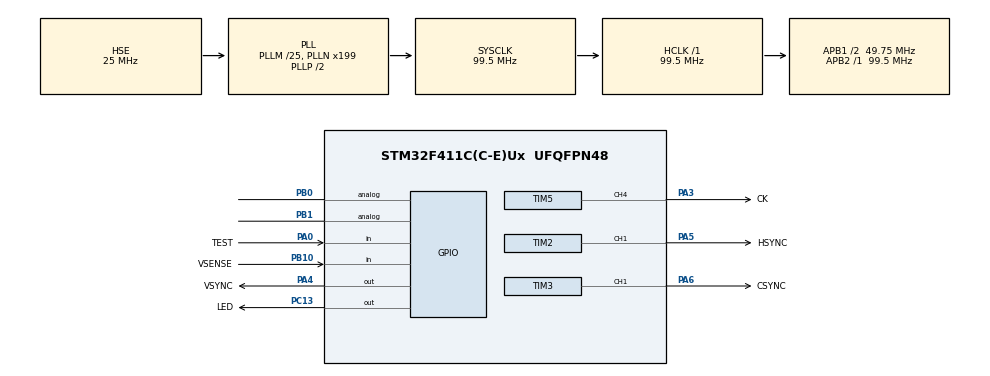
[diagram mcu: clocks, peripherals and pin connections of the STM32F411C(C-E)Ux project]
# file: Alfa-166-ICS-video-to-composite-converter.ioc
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Dma.Request0=TIM4_UP
Dma.Request1=TIM1_UP
Dma.Request2=TIM3_CH4/UP
Dma.Request3=TIM1_CH1/CH2/CH3
Dma.TIM1_CH1/CH2/CH3.3.Direction=DMA_MEMORY_TO_PERIPH
Dma.TIM1_CH1/CH2/CH3.3.FIFOMode=DMA_FIFOMODE_DISABLE
Dma.TIM1_CH1/CH2/CH3.3.Instance=DMA2_Stream6
Dma.TIM1_CH1/CH2/CH3.3.MemDataAlignment=DMA_MDATAALIGN_HALFWORD
Dma.TIM1_CH1/CH2/CH3.3.MemInc=DMA_MINC_ENABLE
Dma.TIM1_CH1/CH2/CH3.3.Mode=DMA_CIRCULAR
Dma.TIM1_CH1/CH2/CH3.3.PeriphDataAlignment=DMA_PDATAALIGN_HALFWORD
Dma.TIM1_CH1/CH2/CH3.3.PeriphInc=DMA_PINC_DISABLE
Dma.TIM1_CH1/CH2/CH3.3.Priority=DMA_PRIORITY_VERY_HIGH
Dma.TIM1_UP.1.Direction=DMA_MEMORY_TO_PERIPH
Dma.TIM1_UP.1.FIFOMode=DMA_FIFOMODE_DISABLE
Dma.TIM1_UP.1.Instance=DMA2_Stream5
Dma.TIM1_UP.1.MemDataAlignment=DMA_MDATAALIGN_WORD
Dma.TIM1_UP.1.MemInc=DMA_MINC_ENABLE
Dma.TIM1_UP.1.Mode=DMA_CIRCULAR
Dma.TIM1_UP.1.PeriphDataAlignment=DMA_PDATAALIGN_WORD
Dma.TIM1_UP.1.PeriphInc=DMA_PINC_DISABLE
Dma.TIM1_UP.1.Priority=DMA_PRIORITY_VERY_HIGH
Dma.TIM3_CH4/UP.2.Direction=DMA_MEMORY_TO_PERIPH
Dma.TIM3_CH4/UP.2.FIFOMode=DMA_FIFOMODE_DISABLE
Dma.TIM3_CH4/UP.2.Instance=DMA1_Stream2
Dma.TIM3_CH4/UP.2.MemDataAlignment=DMA_MDATAALIGN_HALFWORD
Dma.TIM3_CH4/UP.2.MemInc=DMA_MINC_ENABLE
Dma.TIM3_CH4/UP.2.Mode=DMA_CIRCULAR
Dma.TIM3_CH4/UP.2.PeriphDataAlignment=DMA_PDATAALIGN_HALFWORD
Dma.TIM3_CH4/UP.2.PeriphInc=DMA_PINC_DISABLE
Dma.TIM3_CH4/UP.2.Priority=DMA_PRIORITY_VERY_HIGH
Dma.TIM4_UP.0.Direction=DMA_MEMORY_TO_PERIPH
Dma.TIM4_UP.0.FIFOMode=DMA_FIFOMODE_DISABLE
Dma.TIM4_UP.0.Instance=DMA1_Stream6
Dma.TIM4_UP.0.MemDataAlignment=DMA_MDATAALIGN_HALFWORD
Dma.TIM4_UP.0.MemInc=DMA_MINC_ENABLE
Dma.TIM4_UP.0.Mode=DMA_CIRCULAR
Dma.TIM4_UP.0.PeriphDataAlignment=DMA_PDATAALIGN_HALFWORD
Dma.TIM4_UP.0.PeriphInc=DMA_PINC_DISABLE
Dma.TIM4_UP.0.Priority=DMA_PRIORITY_VERY_HIGH
Mcu.Family=STM32F4
Mcu.Name=STM32F411C(C-E)Ux
Mcu.Package=UFQFPN48
NVIC.PriorityGroup=NVIC_PRIORITYGROUP_4
PA0-WKUP.GPIO_Label=TEST
PA0-WKUP.GPIO_PuPd=GPIO_PULLUP
PA0-WKUP.Signal=GPIO_Input
PA13.Mode=Serial_Wire
PA13.Signal=SYS_JTMS-SWDIO
PA14.Mode=Serial_Wire
PA14.Signal=SYS_JTCK-SWCLK
PA3.GPIO_Label=CK
PA3.GPIO_ModeDefaultPP=GPIO_MODE_AF_PP
PA3.GPIO_PuPd=GPIO_NOPULL
PA3.GPIO_Speed=GPIO_SPEED_FREQ_VERY_HIGH
PA3.Signal=S_TIM5_CH4
PA4.GPIO_Label=VSYNC
PA4.GPIO_ModeDefaultOutputPP=GPIO_MODE_OUTPUT_OD
PA4.GPIO_PuPd=GPIO_NOPULL
PA4.Signal=GPIO_Output
PA5.GPIO_Label=HSYNC
PA5.GPIO_ModeDefaultPP=GPIO_MODE_AF_OD
PA5.Signal=S_TIM2_CH1_ETR
PA6.GPIO_Label=CSYNC
PA6.GPIO_ModeDefaultPP=GPIO_MODE_AF_PP
PA6.Signal=S_TIM3_CH1
PB0.Signal=GPIO_Analog
PB1.Signal=GPIO_Analog
PB10.GPIO_Label=VSENSE
PB10.GPIO_PuPd=GPIO_PULLDOWN
PB10.Signal=GPIO_Input
PC13-ANTI_TAMP.GPIO_Label=LED
PC13-ANTI_TAMP.Signal=GPIO_Output
PH0\ -\ OSC_IN.Mode=HSE-External-Oscillator
PH0\ -\ OSC_IN.Signal=RCC_OSC_IN
PH1\ -\ OSC_OUT.Mode=HSE-External-Oscillator
PH1\ -\ OSC_OUT.Signal=RCC_OSC_OUT
ProjectManager.HeapSize=0x200
ProjectManager.StackSize=0x400
ProjectManager.TargetToolchain=STM32CubeIDE
RCC.48MHZClocksFreq_Value=49750000
RCC.AHBFreq_Value=99500000
RCC.APB1CLKDivider=RCC_HCLK_DIV2
RCC.APB1Freq_Value=49750000
RCC.APB1TimFreq_Value=99500000
RCC.APB2Freq_Value=99500000
RCC.APB2TimFreq_Value=99500000
RCC.CortexFreq_Value=99500000
RCC.HCLKFreq_Value=99500000
RCC.HSE_VALUE=25000000
RCC.HSI_VALUE=16000000
RCC.LSE_VALUE=32768
RCC.PLLM=25
RCC.PLLN=199
RCC.PLLSourceVirtual=RCC_PLLSOURCE_HSE
RCC.SYSCLKFreq_VALUE=99500000
RCC.SYSCLKSource=RCC_SYSCLKSOURCE_PLLCLK
RCC.VCOOutputFreq_Value=199000000
SH.S_TIM2_CH1_ETR.0=TIM2_CH1,PWM Generation1 CH1
SH.S_TIM3_CH1.0=TIM3_CH1,PWM Generation1 CH1
SH.S_TIM5_CH4.0=TIM5_CH4,PWM Generation4 CH4
TIM1.AutoReloadPreload=TIM_AUTORELOAD_PRELOAD_DISABLE
TIM1.Channel-PWM\ Generation1\ No\ Output=TIM_CHANNEL_1
TIM1.OCFastMode_PWM-PWM\ Generation1\ No\ Output=TIM_OCFAST_ENABLE
TIM1.Period=3161
TIM1.Prescaler=0
TIM1.Pulse-PWM\ Generation1\ No\ Output=5
TIM1.TIM_MasterOutputTrigger=TIM_TRGO_UPDATE
TIM1.TIM_MasterSlaveMode=TIM_MASTERSLAVEMODE_DISABLE
TIM2.Channel-PWM\ Generation1\ CH1=TIM_CHANNEL_1
TIM2.OC1Preload_PWM=DISABLE
TIM2.OCFastMode_PWM-PWM\ Generation1\ CH1=TIM_OCFAST_DISABLE
TIM2.OCMode_PWM-PWM\ Generation1\ CH1=TIM_OCMODE_PWM2
TIM2.Period=6323
TIM2.Pulse-PWM\ Generation1\ CH1=497
TIM2.TIM_MasterOutputTrigger=TIM_TRGO_UPDATE
TIM2.TIM_MasterSlaveMode=TIM_MASTERSLAVEMODE_DISABLE
TIM3.AutoReloadPreload=TIM_AUTORELOAD_PRELOAD_DISABLE
TIM3.Channel-PWM\ Generation1\ CH1=TIM_CHANNEL_1
TIM3.OC1Preload_PWM=DISABLE
TIM3.OCFastMode_PWM-PWM\ Generation1\ CH1=TIM_OCFAST_ENABLE
TIM3.OCMode_PWM-PWM\ Generation1\ CH1=TIM_OCMODE_PWM2
TIM3.Period=6323
TIM3.Prescaler=0
TIM3.Pulse-PWM\ Generation1\ CH1=458
TIM3.TIM_MasterOutputTrigger=TIM_TRGO_UPDATE
TIM3.TIM_MasterSlaveMode=TIM_MASTERSLAVEMODE_DISABLE
TIM4.AutoReloadPreload=TIM_AUTORELOAD_PRELOAD_DISABLE
TIM4.Period=3
TIM4.TIM_MasterOutputTrigger=TIM_TRGO_UPDATE
TIM4.TIM_MasterSlaveMode=TIM_MASTERSLAVEMODE_DISABLE
TIM5.Channel-PWM\ Generation4\ CH4=TIM_CHANNEL_4
TIM5.OCFastMode_PWM-PWM\ Generation4\ CH4=TIM_OCFAST_ENABLE
TIM5.OCMode_PWM-PWM\ Generation4\ CH4=TIM_OCMODE_PWM2
TIM5.Period=29
TIM5.Prescaler=0
TIM5.Pulse-PWM\ Generation4\ CH4=15
TIM5.TIM_MasterOutputTrigger=TIM_TRGO_UPDATE
TIM5.TIM_MasterSlaveMode=TIM_MASTERSLAVEMODE_DISABLE
VP_TIM1_VS_ClockSourceINT.Mode=Internal
VP_TIM1_VS_ClockSourceITR.Mode=TriggerSource_ITR3
VP_TIM1_VS_ControllerModeTrigger.Mode=Trigger Mode
VP_TIM1_VS_OPM.Mode=OPM_bit
VP_TIM1_VS_no_output1.Mode=PWM Generation1 No Output
VP_TIM2_VS_ClockSourceINT.Mode=Internal
VP_TIM3_VS_ClockSourceINT.Mode=Internal
VP_TIM3_VS_ClockSourceITR.Mode=TriggerSource_ITR1
VP_TIM3_VS_ControllerModeReset.Mode=Reset Mode
VP_TIM4_VS_ClockSourceITR.Mode=TriggerSource_ITR1
VP_TIM4_VS_ControllerModeClock.Mode=Clock Mode
VP_TIM5_VS_ClockSourceINT.Mode=Internal
VP_TIM5_VS_ClockSourceITR.Mode=TriggerSource_ITR0
VP_TIM5_VS_ControllerModeReset.Mode=Reset Mode
board=custom

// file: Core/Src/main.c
/* USER CODE BEGIN Header */
/**
  ******************************************************************************
  * @file           : main.c
  * @brief          : Main program body
  ******************************************************************************
  * @attention
  *
  * Copyright (c) 2025 STMicroelectronics.
  * All rights reserved.
  *
  * This software is licensed under terms that can be found in the LICENSE file
  * in the root directory of this software component.
  * If no LICENSE file comes with this software, it is provided AS-IS.
  *
  ******************************************************************************
  */
/* USER CODE END Header */
#include "main.h"

/* USER CODE BEGIN Includes */
#include "gpio.h"
/* USER CODE END Includes */

/* USER CODE BEGIN PD */

// Macro to combine all TIM flags
#define TIM_IT_ALL  (TIM_IT_UPDATE | TIM_IT_CC1 | TIM_IT_CC1 | TIM_IT_CC1 | TIM_IT_CC1 | TIM_IT_COM | TIM_IT_TRIGGER | TIM_IT_BREAK)

// Enable to start in even field,odd field otherwise
#define START_IN_EVEN_FIELD

#define _INT(n) ( (int) n )
// System timings
#define MAIN_CLK          (99500UL)                               // Timer clock: 99.5MHz
#define PWM_T(n)          ((((n)*MAIN_CLK)+500000UL)/1000000UL)           // Period value in ns
#define TIM_T(n)          (PWM_T(n)-1)                            // Duty value in ns

//NTSC standard definition
#define FPS               (2997)                                  // 29.97fps
#define FRAME             (480)                                   // 480, 720, 1080... for 525, 765, 1125 lines

// NTSC timings (Computed based on the defined frame/fps and system speed)
#define LINES             (FRAME+45)                              // 525, 765, 1125
#define FIELD             (LINES/2)
#define LINE_T            ((100000000000UL+(FPS*LINES/2))/(FPS*LINES))    // Line: 63.55us = 15734.25Hz
#define HLINE_T           (LINE_T+1/2)
#define TIM_LINE          (TIM_T(LINE_T))
#define TIM_HLINE         (((TIM_LINE+1)/2)-1)                            // Half line: 31.8us
#define HSY               (PWM_T(4700UL))                                 // HSYNC width: 4.7us
#define EQ_LOW            (PWM_T(HLINE_T-4700))                           // EQU low:  HLINE-4.7 = 27.1us    PERIOD = TIM_HLINE
#define PEQ_LOW           (PWM_T(2400UL))                                 // PRE-POST low: 2.4us              PERIOD = TIM_HLINE

#define VSYNC_LINES       (3)                                             // Vsync low pulse width
#define VSYNC_DELAY_LINES (3)                                             // Delay from Pre-Equ start
#define VSYNC_DELAY_HSYNC_ODD (TIM_T(300UL))                              // Delay from hsync fall to vsync toggle odd field (300ns)
#define VSYNC_DELAY_HSYNC_EVEN (TIM_HLINE)                                // Delay from hsync fall to vsync toggle even field (300ns + half line)
/*
#define XSTR(x) STR(x)
#define STR(x) #x
#pragma message "LINES: " XSTR(LINES)
#pragma message "FIELD: " XSTR(FIELD)
#pragma message "LINE_T: " XSTR(LINE_T)
#pragma message "TIM_LINE: " XSTR(TIM_LINE)
#pragma message "TIM_HLINE: " XSTR(TIM_HLINE)
#pragma message "EQ_LOW: " XSTR(EQ_LOW)
#pragma message "PEQ_LOW: " XSTR(PEQ_LOW)
#pragma message "VSYNC_LINES: " XSTR(VSYNC_LINES)
#pragma message "VSYNC_DELAY_LINES: " XSTR(VSYNC_DELAY_LINES)
#pragma message "VSYNC_DELAY_HSYNC: " XSTR(VSYNC_DELAY_HSYNC)
#pragma message "2xHL: " XSTR((TIM_HLINE+1)*2)
*/

/*
   NTSC 525i frame composite sync

   Hfreq      15734.25Hz, T=63.556us

                  Pulses  Width                       Pulse     Start line    Lines   Note
   pre-equ        6       31.78us, 2.5us  low,        0-5       1             3
   equ            6       31.78us, 27.1us low,        6-11      4             3
   post-equ       6       31.78us, 2.5us  low,        12-17     7             3
   10-262         253     63.56us, 4.7us  low         18-270    10            253
   262.5          1       31.78us, 4.7us  low         271       262           0.5     (odd field end, 1/2 line)
   pre-equ        6       31.78us, 2.5us  low,        272-277   262.5         3
   equ            6       31.78us, 27.1us low,        278-283   265.5         3
   post-equ       5       31.78us, 2.5us  low,        284-288   268.5         2.5
   post-equ-end   1       63.56us, 2.5us  low,        289       271           1       (even field start, 1/2 line)
   264-525        253     63.56us, 4.7us  low         290-525   272           253
   end (Roll over)                                              525
*/

/* USER CODE END PD */

TIM_HandleTypeDef htim1;
TIM_HandleTypeDef htim2;
TIM_HandleTypeDef htim3;
TIM_HandleTypeDef htim4;
TIM_HandleTypeDef htim5;
DMA_HandleTypeDef hdma_tim1_up;
DMA_HandleTypeDef hdma_tim1_ch1_ch2_ch3;
DMA_HandleTypeDef hdma_tim3_ch4_up;
DMA_HandleTypeDef hdma_tim4_up;

void SystemClock_Config(void);
static void MX_GPIO_Init(void);
static void MX_DMA_Init(void);
static void MX_TIM3_Init(void);
static void MX_TIM4_Init(void);
static void MX_TIM1_Init(void);
static void MX_TIM5_Init(void);
static void MX_TIM2_Init(void);
/* USER CODE BEGIN PFP */

const uint32_t vsync_toggle[] = { VSYNC_Pin, ((uint32_t)VSYNC_Pin<<16) };           // Vsync GPIO BSRR values: low, high.

#ifdef START_IN_EVEN_FIELD

const uint16_t csync[][3] = { // DMA burst write for TIM3

                                                              // EVEN FIELD START
  [0 ... 5]               = { TIM_HLINE,  0,    PEQ_LOW },    // 6x pre-equalizing pulses     T=31.78us   low: 2.44us (3 lines)
  [6 ... 11]              = { TIM_HLINE,  0,    EQ_LOW  },    // 6x equalizing pulses         T=31.78us   low: 27.1us (3 lines)
  [12 ... 16]             = { TIM_HLINE,  0,    PEQ_LOW },    // 5x post-equalizing pulses    T=31.78us   low: 2.44us (2.5 lines)
  [17]                    = { TIM_LINE,   0,    PEQ_LOW },    // 1x post-equ + 0.5 line       T=63.56us   low: 2.44us (0.5 lines)
  [18 ... FIELD+7]        = { TIM_LINE,   0,    HSY     },    // even field                   T=63.56us   low: 4.7us  (253 lines for 525i)

                                                              // ODD FIELD START
  [FIELD+8 ... FIELD+13]  = { TIM_HLINE,  0,    PEQ_LOW },    // 6x pre-equalizing pulses     T=31.78us   low: 2.44us (3 lines)
  [FIELD+14 ... FIELD+19] = { TIM_HLINE,  0,    EQ_LOW  },    // 6x equalizing pulses         T=31.78us   low: 27.1us (3 lines)
  [FIELD+20 ... FIELD+25] = { TIM_HLINE,  0,    PEQ_LOW },    // 6x post-equalizing pulses    T=31.78us   low: 2.44us (3 lines)
  [FIELD+26 ... LINES+16] = { TIM_LINE,   0,    HSY     },    // even field                   T=63.56us   low: 4.7us  (253 lines for 525i)
  [LINES+17]              = { TIM_HLINE,  0,    HSY     },    // 0.5 line                     T=31.78us   low: 4.7us  (0.5 lines)

};
const uint16_t hsync_vsync_div[] = { FIELD-VSYNC_LINES-1, VSYNC_LINES-1, FIELD-VSYNC_LINES, VSYNC_LINES-1 };   // Hsync divider for vsync generation.
const uint16_t hsync_vsync_delay[]   = { VSYNC_DELAY_HSYNC_EVEN, VSYNC_DELAY_HSYNC_ODD, VSYNC_DELAY_HSYNC_ODD, VSYNC_DELAY_HSYNC_EVEN };

#else

const uint16_t csync[][3] = { // DMA burst write for TIM3     // ODD FIELD START
  [0 ... 5]               = { TIM_HLINE,  0,    PEQ_LOW },    // 6x pre-equalizing pulses     T=31.78us   low: 2.44us (3 lines)
  [6 ... 11]              = { TIM_HLINE,  0,    EQ_LOW  },    // 6x equalizing pulses         T=31.78us   low: 27.1us (3 lines)
  [12 ... 17]             = { TIM_HLINE,  0,    PEQ_LOW },    // 6x post-equalizing pulses    T=31.78us   low: 2.44us (3 lines)
  [18 ... FIELD+9]        = { TIM_LINE,   0,    HSY     },    // odd field                    T=63.56us   low: 4.7us  (253 lines for 525i)
  [FIELD+10]              = { TIM_HLINE,  0,    HSY     },    // 0.5 line                     T=31.78us   low: 4.7us  (0.5 lines)
                                                              // EVEN FIELD START
  [FIELD+11 ... FIELD+16] = { TIM_HLINE,  0,    PEQ_LOW },    // 6x pre-equalizing pulses     T=31.78us   low: 2.44us (3 lines)
  [FIELD+17 ... FIELD+22] = { TIM_HLINE,  0,    EQ_LOW  },    // 6x equalizing pulses         T=31.78us   low: 27.1us (3 lines)
  [FIELD+23 ... FIELD+27] = { TIM_HLINE,  0,    PEQ_LOW },    // 5x post-equalizing pulses    T=31.78us   low: 2.44us (2.5 lines)
  [FIELD+28]              = { TIM_LINE,   0,    PEQ_LOW },    // 1x post-equ + 0.5 line       T=63.56us   low: 2.44us (0.5 lines)
  [FIELD+29 ... LINES+17] = { TIM_LINE,   0,    HSY     },    // even field                   T=63.56us   low: 4.7us  (253 lines for 525i)
};
const uint16_t hsync_vsync_div[]   = { FIELD-VSYNC_LINES, VSYNC_LINES-1, FIELD-VSYNC_LINES-1, VSYNC_LINES-1 };   // Hsync divider for vsync generation.
const uint16_t hsync_vsync_delay[]   = { VSYNC_DELAY_HSYNC_ODD, VSYNC_DELAY_HSYNC_EVEN, VSYNC_DELAY_HSYNC_EVEN, VSYNC_DELAY_HSYNC_ODD };
#endif

/* USER CODE END PFP */

/* USER CODE BEGIN 0 */
uint8_t test_mode;
/* USER CODE END 0 */

int main(void)
{

  /* MCU Configuration--------------------------------------------------------*/

  /* Reset of all peripherals, Initializes the Flash interface and the Systick. */
  HAL_Init();

  /* Configure the system clock */
  SystemClock_Config();

  /* Initialize all configured peripherals */
  MX_GPIO_Init();
  MX_DMA_Init();
  MX_TIM3_Init();
  MX_TIM4_Init();
  MX_TIM1_Init();
  MX_TIM5_Init();
  MX_TIM2_Init();
  /* USER CODE BEGIN 2 */

#ifdef DEBUG
  __HAL_DBGMCU_FREEZE_TIM1();
  __HAL_DBGMCU_FREEZE_TIM2();
  __HAL_DBGMCU_FREEZE_TIM3();
  __HAL_DBGMCU_FREEZE_TIM4();
  __HAL_DBGMCU_FREEZE_TIM5();
#endif

  __HAL_TIM_CLEAR_IT(&htim1, TIM_IT_ALL);
  __HAL_TIM_CLEAR_IT(&htim3, TIM_IT_ALL);
  __HAL_TIM_CLEAR_IT(&htim4, TIM_IT_ALL);
  __HAL_TIM_CLEAR_IT(&htim5, TIM_IT_ALL);

  // The ICS logic won't work properly with 3.3V signals.
  // XXX: HSYNC / VSYNC PINS CONFIGURED IN OPEN DRAIN MODE, USE EXTERNAL 4k7-10K PULLUPS TO 5V !!!!
  HAL_setPinHigh(HSYNC);                                                                                                                // This is the behavior on the ICS at boot
  HAL_setPinLow(VSYNC);
  HAL_setPinMode(HSYNC, MODE_OUTPUT);                                                                                                   // Set HSYNC pin to GPIO output
  HAL_setPinHigh(LED);                                                                                                                  // LED off

  /*        TIM1
      Makes HSYNC to VSYNC delay
      Uses system clock.
      Slave trigger mode from TIM4 (Hsync to VSYNC divider).
      Uses TIM_UP DMA to write to the VSYNC GPIO.
      The next delay is self-updated by TIM1_CC1, which writes the next overflow value to TIM1-ARR
   */
  __HAL_TIM_ENABLE_DMA(&htim1, TIM_DMA_UPDATE);
  __HAL_TIM_ENABLE_DMA(&htim1, TIM_DMA_CC1);
  HAL_DMA_Start(&hdma_tim1_up,  (uint32_t)vsync_toggle, (uint32_t)&VSYNC_GPIO_Port->BSRR, sizeof(vsync_toggle)/sizeof(vsync_toggle[0]));                                           // use UPDATE DMA to write to GPIO
  HAL_DMA_Start(&hdma_tim1_ch1_ch2_ch3, (uint32_t)hsync_vsync_delay, (uint32_t)&TIM1->ARR, sizeof(hsync_vsync_delay)/sizeof(hsync_vsync_delay[0]));                                           // use UPDATE DMA to write to GPIO
  HAL_TIM_PWM_Start(&htim1, TIM_CHANNEL_1);                                                                                             // Start TIM1 PWM

  // TIM3  -  CSYNC - Slave reset mode from TIM2 to ensure sync at all times.
  TIM3->ARR = TIM_HLINE;                                                                                                                // Start in pre-equalizing phase
  TIM3->CCR1 = PEQ_LOW;
  __HAL_TIM_ENABLE_DMA(&htim3, TIM_DMA_UPDATE);
  HAL_DMA_Start(&hdma_tim3_ch4_up, (uint32_t)csync, (uint32_t)&TIM3->DMAR, sizeof(csync)/sizeof(csync[0][0]));                          // Start TIM3 Update DMA: Updates TIM4 ARR value on each update for VSYNC delay
  TIM3->DCR = TIM_DMABASE_ARR | TIM_DMABURSTLENGTH_3TRANSFERS;                                                                          // Enable burst transfers

  /*        TIM4
      Takes HSYNC clock from TIM2, divides by field lines, updates next overflow value (Odd / Even fields).
      TRGO for TIM1, which makes a delay, then triggers a DMA write to VSYNC GPIO
  */
  __HAL_TIM_ENABLE_DMA(&htim4, TIM_DMA_UPDATE);
  HAL_DMA_Start(&hdma_tim4_up, (uint32_t)hsync_vsync_div, (uint32_t)&TIM4->ARR, sizeof(hsync_vsync_div)/sizeof(hsync_vsync_div[0]));    // Enable TIM4 Update DMA: Updates TIM4 ARR value on each update
  TIM4->ARR = VSYNC_LINES+VSYNC_DELAY_LINES-1;                   // We start with vsync=low, so preload vsync width.
  HAL_TIM_Base_Start(&htim4);

  while(HAL_GetTick()==0);                                                                                                              // Make sure at least 1ms have passed, otherwise the following loop won't work
  uint32_t start=0;
  while(1){
    if(start==0){
      if(HAL_readPin(VSENSE) || !HAL_readPin(TEST))                                                                                     // Wait for target power or test mode
        start = HAL_GetTick();
    }
    else{
      if(!HAL_readPin(VSENSE) && HAL_readPin(TEST))                                                                                     // Target power removed or test button not pressed for long enough
        start = 0;                                                                                                                      // Restart loop
      else if(HAL_GetTick()-start > 50 ){                                                                                               // Target power or test button held for >50ms, start
        test_mode =  !HAL_readPin(TEST);                                                                                                // store test flag
        break;
      }
    }
  }
  HAL_setPinLow(LED);                                                                                                                   // LED on
  HAL_setPinMode(HSYNC, MODE_AF);                                                                                                       // Restore HSYNC pin to PWM output

  // TIM2  -  HSYNC for head unit - Master timer for TIM3, TIM4 & TIM5
  TIM2->ARR = TIM_LINE;
  TIM2->CCR1 = HSY;
  HAL_TIM_PWM_Start(&htim2, TIM_CHANNEL_1);                                                                                             // Start TIM2 PWM
  __HAL_TIM_MOE_ENABLE(&htim2);                                                                                                         // Enable TIM2 PWM output (HSYNC signal), Master timer

  HAL_TIM_PWM_Start(&htim3, TIM_CHANNEL_1);                                                                                             // Start TIM3 PWM
  __HAL_TIM_MOE_ENABLE(&htim3);                                                                                                         // Enable TIM3 PWM output (CSYNC signal)

  HAL_TIM_PWM_Start(&htim5, TIM_CHANNEL_4);                                                                                             // Start TIM5 PWM
  __HAL_TIM_MOE_ENABLE(&htim5);                                                                                                         // Enable TIM5 PWM output (Pixel clock)
  /* USER CODE END 2 */

  /* Infinite loop */
  /* USER CODE BEGIN WHILE */
  while (1)
  {
    if( !HAL_readPin(VSENSE) && !test_mode ){                                                                                           // Target power removed, not in test mode
      NVIC_SystemReset();                                                                                                               // Reboot system
    }
    /* USER CODE END WHILE */

  }
}

void SystemClock_Config(void)
{
  RCC_OscInitTypeDef RCC_OscInitStruct = {0};
  RCC_ClkInitTypeDef RCC_ClkInitStruct = {0};

  /** Configure the main internal regulator output voltage
  */
  __HAL_RCC_PWR_CLK_ENABLE();
  __HAL_PWR_VOLTAGESCALING_CONFIG(PWR_REGULATOR_VOLTAGE_SCALE1);

  /** Initializes the RCC Oscillators according to the specified parameters
  * in the RCC_OscInitTypeDef structure.
  */
  RCC_OscInitStruct.OscillatorType = RCC_OSCILLATORTYPE_HSE;
  RCC_OscInitStruct.HSEState = RCC_HSE_ON;
  RCC_OscInitStruct.PLL.PLLState = RCC_PLL_ON;
  RCC_OscInitStruct.PLL.PLLSource = RCC_PLLSOURCE_HSE;
  RCC_OscInitStruct.PLL.PLLM = 25;
  RCC_OscInitStruct.PLL.PLLN = 199;
  RCC_OscInitStruct.PLL.PLLP = RCC_PLLP_DIV2;
  RCC_OscInitStruct.PLL.PLLQ = 4;
  if (HAL_RCC_OscConfig(&RCC_OscInitStruct) != HAL_OK)
  {
    Error_Handler();
  }

  /** Initializes the CPU, AHB and APB buses clocks
  */
  RCC_ClkInitStruct.ClockType = RCC_CLOCKTYPE_HCLK|RCC_CLOCKTYPE_SYSCLK
                              |RCC_CLOCKTYPE_PCLK1|RCC_CLOCKTYPE_PCLK2;
  RCC_ClkInitStruct.SYSCLKSource = RCC_SYSCLKSOURCE_PLLCLK;
  RCC_ClkInitStruct.AHBCLKDivider = RCC_SYSCLK_DIV1;
  RCC_ClkInitStruct.APB1CLKDivider = RCC_HCLK_DIV2;
  RCC_ClkInitStruct.APB2CLKDivider = RCC_HCLK_DIV1;

  if (HAL_RCC_ClockConfig(&RCC_ClkInitStruct, FLASH_LATENCY_3) != HAL_OK)
  {
    Error_Handler();
  }
}

static void MX_TIM1_Init(void)
{

  TIM_ClockConfigTypeDef sClockSourceConfig = {0};
  TIM_SlaveConfigTypeDef sSlaveConfig = {0};
  TIM_MasterConfigTypeDef sMasterConfig = {0};
  TIM_OC_InitTypeDef sConfigOC = {0};
  TIM_BreakDeadTimeConfigTypeDef sBreakDeadTimeConfig = {0};

  htim1.Instance = TIM1;
  htim1.Init.Prescaler = 0;
  htim1.Init.CounterMode = TIM_COUNTERMODE_UP;
  htim1.Init.Period = 3161;
  htim1.Init.ClockDivision = TIM_CLOCKDIVISION_DIV1;
  htim1.Init.RepetitionCounter = 0;
  htim1.Init.AutoReloadPreload = TIM_AUTORELOAD_PRELOAD_DISABLE;
  if (HAL_TIM_Base_Init(&htim1) != HAL_OK)
  {
    Error_Handler();
  }
  sClockSourceConfig.ClockSource = TIM_CLOCKSOURCE_INTERNAL;
  if (HAL_TIM_ConfigClockSource(&htim1, &sClockSourceConfig) != HAL_OK)
  {
    Error_Handler();
  }
  if (HAL_TIM_PWM_Init(&htim1) != HAL_OK)
  {
    Error_Handler();
  }
  if (HAL_TIM_OnePulse_Init(&htim1, TIM_OPMODE_SINGLE) != HAL_OK)
  {
    Error_Handler();
  }
  sSlaveConfig.SlaveMode = TIM_SLAVEMODE_TRIGGER;
  sSlaveConfig.InputTrigger = TIM_TS_ITR3;
  if (HAL_TIM_SlaveConfigSynchro(&htim1, &sSlaveConfig) != HAL_OK)
  {
    Error_Handler();
  }
  sMasterConfig.MasterOutputTrigger = TIM_TRGO_UPDATE;
  sMasterConfig.MasterSlaveMode = TIM_MASTERSLAVEMODE_DISABLE;
  if (HAL_TIMEx_MasterConfigSynchronization(&htim1, &sMasterConfig) != HAL_OK)
  {
    Error_Handler();
  }
  sConfigOC.OCMode = TIM_OCMODE_PWM1;
  sConfigOC.Pulse = 5;
  sConfigOC.OCPolarity = TIM_OCPOLARITY_HIGH;
  sConfigOC.OCNPolarity = TIM_OCNPOLARITY_HIGH;
  sConfigOC.OCFastMode = TIM_OCFAST_ENABLE;
  sConfigOC.OCIdleState = TIM_OCIDLESTATE_RESET;
  sConfigOC.OCNIdleState = TIM_OCNIDLESTATE_RESET;
  if (HAL_TIM_PWM_ConfigChannel(&htim1, &sConfigOC, TIM_CHANNEL_1) != HAL_OK)
  {
    Error_Handler();
  }
  sBreakDeadTimeConfig.OffStateRunMode = TIM_OSSR_DISABLE;
  sBreakDeadTimeConfig.OffStateIDLEMode = TIM_OSSI_DISABLE;
  sBreakDeadTimeConfig.LockLevel = TIM_LOCKLEVEL_OFF;
  sBreakDeadTimeConfig.DeadTime = 0;
  sBreakDeadTimeConfig.BreakState = TIM_BREAK_DISABLE;
  sBreakDeadTimeConfig.BreakPolarity = TIM_BREAKPOLARITY_HIGH;
  sBreakDeadTimeConfig.AutomaticOutput = TIM_AUTOMATICOUTPUT_DISABLE;
  if (HAL_TIMEx_ConfigBreakDeadTime(&htim1, &sBreakDeadTimeConfig) != HAL_OK)
  {
    Error_Handler();
  }

}

static void MX_TIM2_Init(void)
{

  TIM_ClockConfigTypeDef sClockSourceConfig = {0};
  TIM_MasterConfigTypeDef sMasterConfig = {0};
  TIM_OC_InitTypeDef sConfigOC = {0};

  htim2.Instance = TIM2;
  htim2.Init.Prescaler = 0;
  htim2.Init.CounterMode = TIM_COUNTERMODE_UP;
  htim2.Init.Period = 6323;
  htim2.Init.ClockDivision = TIM_CLOCKDIVISION_DIV1;
  htim2.Init.AutoReloadPreload = TIM_AUTORELOAD_PRELOAD_DISABLE;
  if (HAL_TIM_Base_Init(&htim2) != HAL_OK)
  {
    Error_Handler();
  }
  sClockSourceConfig.ClockSource = TIM_CLOCKSOURCE_INTERNAL;
  if (HAL_TIM_ConfigClockSource(&htim2, &sClockSourceConfig) != HAL_OK)
  {
    Error_Handler();
  }
  if (HAL_TIM_PWM_Init(&htim2) != HAL_OK)
  {
    Error_Handler();
  }
  sMasterConfig.MasterOutputTrigger = TIM_TRGO_UPDATE;
  sMasterConfig.MasterSlaveMode = TIM_MASTERSLAVEMODE_DISABLE;
  if (HAL_TIMEx_MasterConfigSynchronization(&htim2, &sMasterConfig) != HAL_OK)
  {
    Error_Handler();
  }
  sConfigOC.OCMode = TIM_OCMODE_PWM2;
  sConfigOC.Pulse = 497;
  sConfigOC.OCPolarity = TIM_OCPOLARITY_HIGH;
  sConfigOC.OCFastMode = TIM_OCFAST_DISABLE;
  if (HAL_TIM_PWM_ConfigChannel(&htim2, &sConfigOC, TIM_CHANNEL_1) != HAL_OK)
  {
    Error_Handler();
  }
  __HAL_TIM_DISABLE_OCxPRELOAD(&htim2, TIM_CHANNEL_1);
  HAL_TIM_MspPostInit(&htim2);

}

static void MX_TIM3_Init(void)
{

  TIM_ClockConfigTypeDef sClockSourceConfig = {0};
  TIM_SlaveConfigTypeDef sSlaveConfig = {0};
  TIM_MasterConfigTypeDef sMasterConfig = {0};
  TIM_OC_InitTypeDef sConfigOC = {0};

  htim3.Instance = TIM3;
  htim3.Init.Prescaler = 0;
  htim3.Init.CounterMode = TIM_COUNTERMODE_UP;
  htim3.Init.Period = 6323;
  htim3.Init.ClockDivision = TIM_CLOCKDIVISION_DIV1;
  htim3.Init.AutoReloadPreload = TIM_AUTORELOAD_PRELOAD_DISABLE;
  if (HAL_TIM_Base_Init(&htim3) != HAL_OK)
  {
    Error_Handler();
  }
  sClockSourceConfig.ClockSource = TIM_CLOCKSOURCE_INTERNAL;
  if (HAL_TIM_ConfigClockSource(&htim3, &sClockSourceConfig) != HAL_OK)
  {
    Error_Handler();
  }
  if (HAL_TIM_PWM_Init(&htim3) != HAL_OK)
  {
    Error_Handler();
  }
  sSlaveConfig.SlaveMode = TIM_SLAVEMODE_RESET;
  sSlaveConfig.InputTrigger = TIM_TS_ITR1;
  if (HAL_TIM_SlaveConfigSynchro(&htim3, &sSlaveConfig) != HAL_OK)
  {
    Error_Handler();
  }
  sMasterConfig.MasterOutputTrigger = TIM_TRGO_UPDATE;
  sMasterConfig.MasterSlaveMode = TIM_MASTERSLAVEMODE_DISABLE;
  if (HAL_TIMEx_MasterConfigSynchronization(&htim3, &sMasterConfig) != HAL_OK)
  {
    Error_Handler();
  }
  sConfigOC.OCMode = TIM_OCMODE_PWM2;
  sConfigOC.Pulse = 458;
  sConfigOC.OCPolarity = TIM_OCPOLARITY_HIGH;
  sConfigOC.OCFastMode = TIM_OCFAST_ENABLE;
  if (HAL_TIM_PWM_ConfigChannel(&htim3, &sConfigOC, TIM_CHANNEL_1) != HAL_OK)
  {
    Error_Handler();
  }
  __HAL_TIM_DISABLE_OCxPRELOAD(&htim3, TIM_CHANNEL_1);
  HAL_TIM_MspPostInit(&htim3);

}

static void MX_TIM4_Init(void)
{

  TIM_SlaveConfigTypeDef sSlaveConfig = {0};
  TIM_MasterConfigTypeDef sMasterConfig = {0};

  htim4.Instance = TIM4;
  htim4.Init.Prescaler = 0;
  htim4.Init.CounterMode = TIM_COUNTERMODE_UP;
  htim4.Init.Period = 3;
  htim4.Init.ClockDivision = TIM_CLOCKDIVISION_DIV1;
  htim4.Init.AutoReloadPreload = TIM_AUTORELOAD_PRELOAD_DISABLE;
  if (HAL_TIM_Base_Init(&htim4) != HAL_OK)
  {
    Error_Handler();
  }
  sSlaveConfig.SlaveMode = TIM_SLAVEMODE_EXTERNAL1;
  sSlaveConfig.InputTrigger = TIM_TS_ITR1;
  if (HAL_TIM_SlaveConfigSynchro(&htim4, &sSlaveConfig) != HAL_OK)
  {
    Error_Handler();
  }
  sMasterConfig.MasterOutputTrigger = TIM_TRGO_UPDATE;
  sMasterConfig.MasterSlaveMode = TIM_MASTERSLAVEMODE_DISABLE;
  if (HAL_TIMEx_MasterConfigSynchronization(&htim4, &sMasterConfig) != HAL_OK)
  {
    Error_Handler();
  }

}

static void MX_TIM5_Init(void)
{

  TIM_ClockConfigTypeDef sClockSourceConfig = {0};
  TIM_SlaveConfigTypeDef sSlaveConfig = {0};
  TIM_MasterConfigTypeDef sMasterConfig = {0};
  TIM_OC_InitTypeDef sConfigOC = {0};

  htim5.Instance = TIM5;
  htim5.Init.Prescaler = 0;
  htim5.Init.CounterMode = TIM_COUNTERMODE_UP;
  htim5.Init.Period = 29;
  htim5.Init.ClockDivision = TIM_CLOCKDIVISION_DIV1;
  htim5.Init.AutoReloadPreload = TIM_AUTORELOAD_PRELOAD_DISABLE;
  if (HAL_TIM_Base_Init(&htim5) != HAL_OK)
  {
    Error_Handler();
  }
  sClockSourceConfig.ClockSource = TIM_CLOCKSOURCE_INTERNAL;
  if (HAL_TIM_ConfigClockSource(&htim5, &sClockSourceConfig) != HAL_OK)
  {
    Error_Handler();
  }
  if (HAL_TIM_PWM_Init(&htim5) != HAL_OK)
  {
    Error_Handler();
  }
  sSlaveConfig.SlaveMode = TIM_SLAVEMODE_RESET;
  sSlaveConfig.InputTrigger = TIM_TS_ITR0;
  if (HAL_TIM_SlaveConfigSynchro(&htim5, &sSlaveConfig) != HAL_OK)
  {
    Error_Handler();
  }
  sMasterConfig.MasterOutputTrigger = TIM_TRGO_UPDATE;
  sMasterConfig.MasterSlaveMode = TIM_MASTERSLAVEMODE_DISABLE;
  if (HAL_TIMEx_MasterConfigSynchronization(&htim5, &sMasterConfig) != HAL_OK)
  {
    Error_Handler();
  }
  sConfigOC.OCMode = TIM_OCMODE_PWM2;
  sConfigOC.Pulse = 15;
  sConfigOC.OCPolarity = TIM_OCPOLARITY_HIGH;
  sConfigOC.OCFastMode = TIM_OCFAST_ENABLE;
  if (HAL_TIM_PWM_ConfigChannel(&htim5, &sConfigOC, TIM_CHANNEL_4) != HAL_OK)
  {
    Error_Handler();
  }
  HAL_TIM_MspPostInit(&htim5);

}

static void MX_DMA_Init(void)
{

  /* DMA controller clock enable */
  __HAL_RCC_DMA1_CLK_ENABLE();
  __HAL_RCC_DMA2_CLK_ENABLE();

}

static void MX_GPIO_Init(void)
{
  GPIO_InitTypeDef GPIO_InitStruct = {0};

  /* GPIO Ports Clock Enable */
  __HAL_RCC_GPIOC_CLK_ENABLE();
  __HAL_RCC_GPIOH_CLK_ENABLE();
  __HAL_RCC_GPIOA_CLK_ENABLE();
  __HAL_RCC_GPIOB_CLK_ENABLE();

  /*Configure GPIO pin Output Level */
  HAL_GPIO_WritePin(LED_GPIO_Port, LED_Pin, GPIO_PIN_RESET);

  /*Configure GPIO pin Output Level */
  HAL_GPIO_WritePin(VSYNC_GPIO_Port, VSYNC_Pin, GPIO_PIN_RESET);

  /*Configure GPIO pin : LED_Pin */
  GPIO_InitStruct.Pin = LED_Pin;
  GPIO_InitStruct.Mode = GPIO_MODE_OUTPUT_PP;
  GPIO_InitStruct.Pull = GPIO_NOPULL;
  GPIO_InitStruct.Speed = GPIO_SPEED_FREQ_LOW;
  HAL_GPIO_Init(LED_GPIO_Port, &GPIO_InitStruct);

  /*Configure GPIO pin : TEST_Pin */
  GPIO_InitStruct.Pin = TEST_Pin;
  GPIO_InitStruct.Mode = GPIO_MODE_INPUT;
  GPIO_InitStruct.Pull = GPIO_PULLUP;
  HAL_GPIO_Init(TEST_GPIO_Port, &GPIO_InitStruct);

  /*Configure GPIO pin : VSYNC_Pin */
  GPIO_InitStruct.Pin = VSYNC_Pin;
  GPIO_InitStruct.Mode = GPIO_MODE_OUTPUT_OD;
  GPIO_InitStruct.Pull = GPIO_NOPULL;
  GPIO_InitStruct.Speed = GPIO_SPEED_FREQ_LOW;
  HAL_GPIO_Init(VSYNC_GPIO_Port, &GPIO_InitStruct);

  /*Configure GPIO pins : PB0 PB1 */
  GPIO_InitStruct.Pin = GPIO_PIN_0|GPIO_PIN_1;
  GPIO_InitStruct.Mode = GPIO_MODE_ANALOG;
  GPIO_InitStruct.Pull = GPIO_NOPULL;
  HAL_GPIO_Init(GPIOB, &GPIO_InitStruct);

  /*Configure GPIO pin : VSENSE_Pin */
  GPIO_InitStruct.Pin = VSENSE_Pin;
  GPIO_InitStruct.Mode = GPIO_MODE_INPUT;
  GPIO_InitStruct.Pull = GPIO_PULLDOWN;
  HAL_GPIO_Init(VSENSE_GPIO_Port, &GPIO_InitStruct);

}

void Error_Handler(void)
{
  __disable_irq();
  while (1)
  {
  }
}
